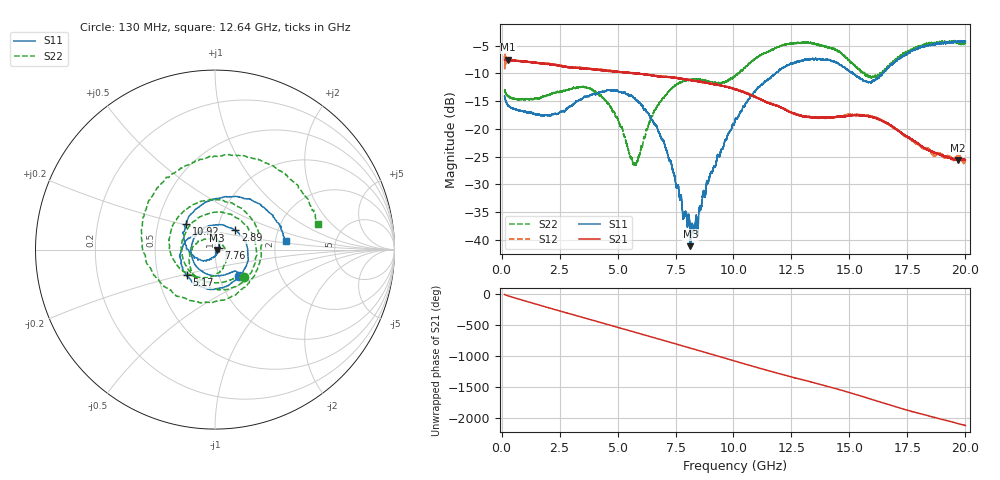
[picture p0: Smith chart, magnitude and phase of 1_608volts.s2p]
!Created with skrf (http://scikit-rf.org).
# GHz S RI R 50.0
!freq ReS11 ImS11 ReS21 ImS21 ReS12 ImS12 ReS22 ImS22
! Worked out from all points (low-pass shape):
!   20013 points, 130 MHz to 20 GHz, reference 50 ohm
!   highest |S21| = -7.53 dB at 281 MHz (marker M1); lowest = -25.7 dB at 19.67 GHz (marker M2)
!   |S21| within 3 dB of the highest: start of sweep to 6.657 GHz; 6.6572 GHz to 6.674806 GHz (17.61 MHz wide, 0.264 % of centre)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
!   lowest |S11| = -41.1 dB at 8.139 GHz (marker M3), VSWR 1.02, Z = 50.8 - j0.269 ohm
!   |S11| at or under -10 dB: start of sweep to 11.8 GHz; 15.15 GHz to 16.42 GHz (1.276 GHz wide, 8.08 % of centre); 16.42356 GHz to 16.43072 GHz (7.157 MHz wide, 0.0436 % of centre)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
!   |S22| runs from -26.7 to -4.1 dB; largest |S21 - S12| = 0.087
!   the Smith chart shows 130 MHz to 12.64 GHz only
!   S11 on the Smith chart (normalised r, x): 130 MHz: 1.25, -0.38; 2.89 GHz: 1.22, +0.27; 5.17 GHz: 0.70, -0.21; 7.76 GHz: 1.04, +0.02; 10.92 GHz: 0.70, +0.21; 12.64 GHz: 2.28, +0.25
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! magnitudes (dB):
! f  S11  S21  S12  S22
! 130 MHz  -14.1  -7.6  -7.6  -13.0
! 281 MHz  -15.8  -7.5  -7.8  -14.2
! 1.763 GHz  -17.6  -8.3  -8.1  -14.2
! 2.89 GHz  -16.1  -8.9  -8.9  -12.9
! 3.442 GHz  -14.7  -9.1  -9.0  -12.5
! 4.349 GHz  -13.3  -9.4  -9.4  -14.5
! 5.17 GHz  -13.4  -9.8  -9.7  -19.7
! 5.765 GHz  -14.7  -10.0  -10.0  -26.4
! 6.754 GHz  -20.4  -10.5  -10.5  -15.7
! 7.76 GHz  -32.5  -11.0  -11.0  -11.6
! 8.139 GHz  -41.1  -11.3  -11.2  -11.2
! 8.398 GHz  -35.6  -11.4  -11.4  -11.1
! 8.933 GHz  -29.1  -11.8  -11.8  -11.5
! 10.06 GHz  -18.6  -12.9  -12.8  -10.5
! 10.92 GHz  -13.4  -14.3  -14.2  -7.5
! 12.64 GHz  -8.1  -17.3  -17.4  -4.6
! 13.38 GHz  -7.4  -18.0  -17.8  -4.6
! 15.86 GHz  -11.6  -17.9  -17.7  -10.5
! 16.69 GHz  -8.9  -19.1  -19.2  -8.8
! 18.64 GHz  -4.7  -24.2  -24.8  -4.6
! 19.67 GHz  -4.3  -25.7  -24.9  -4.5
! 20 GHz  -4.2  -25.6  -25.7  -4.5
